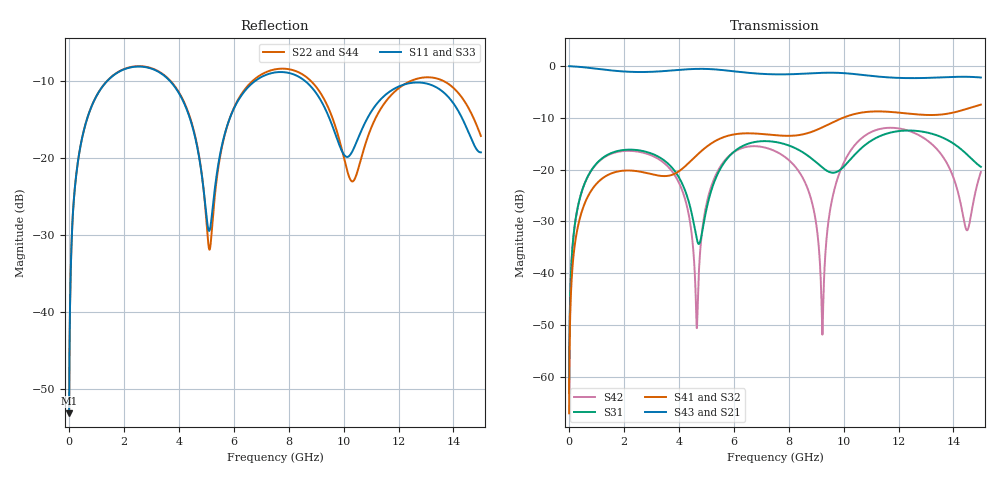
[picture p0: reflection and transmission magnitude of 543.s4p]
! Created with skrf 1.8.0 (http://scikit-rf.org).
# GHz S RI R 50.0
!freq ReS11 ImS11 ReS12 ImS12 ReS13 ImS13
! ReS14 ImS14
! ReS21 ImS21 ReS22 ImS22 ReS23 ImS23
! ReS24 ImS24
! ReS31 ImS31 ReS32 ImS32 ReS33 ImS33
! ReS34 ImS34
! ReS41 ImS41 ReS42 ImS42 ReS43 ImS43
! ReS44 ImS44
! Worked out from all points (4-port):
!   2499 points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, 5 MHz to 15 GHz, reference 50 ohm
!   strongest paths, dB at 5 MHz, 3.476 GHz, 7.19 GHz, 11.1 GHz, 15 GHz:
!     S43: 0.0, -1.0, -1.5, -1.9, -2.2
!     S21: 0.0, -1.0, -1.5, -1.9, -2.2
!     S41: -67.1, -21.3, -13.2, -8.8, -7.4
!     S32: -67.1, -21.3, -13.2, -8.8, -7.5
!     S31: -63.2, -18.3, -14.5, -14.1, -19.5
!     S42: -63.2, -18.8, -15.8, -12.5, -20.5
!   lowest |S11| = -53.1 dB at 5 MHz (marker M1), VSWR 1.00, Z = 50.2 + j0.134 ohm
!   |S11| at or under -10 dB: start of sweep to 1.388 GHz; 3.68 GHz to 6.772 GHz (3.091 GHz wide, 59.2 % of centre); 8.602 GHz to end of sweep
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0.005  0.00176 0.00134  0.9982 -0.00342  8.84e-05 0.000689  -8.58e-05 -0.000433
       0.9982 -0.00342  0.00176 0.00134  -8.58e-05 -0.000433  8.82e-05 0.000689
       8.84e-05 0.000689  -8.58e-05 -0.000433  0.00176 0.00134  0.9982 -0.00342
       -8.58e-05 -0.000433  8.82e-05 0.000689  0.9982 -0.00342  0.00176 0.00134
1.469362  0.2743 0.1779  0.5392 -0.7354  0.1308 0.0546  -0.09 -0.00469
          0.5392 -0.7354  0.2764 0.1765  -0.09 -0.0047  0.1245 0.0633
          0.1308 0.0546  -0.09 -0.0047  0.2743 0.1779  0.5392 -0.7354
          -0.09 -0.00469  0.1245 0.0633  0.5392 -0.7354  0.2764 0.1765
4.651938  0.0632 -0.1049  -0.8776 -0.3356  -0.0184 -0.0111  -0.0448 0.13
          -0.8776 -0.3356  0.0558 -0.1116  -0.0448 0.13  0.00294 0.000188
          -0.0184 -0.0111  -0.0448 0.13  0.0643 -0.1045  -0.8775 -0.3357
          -0.0448 0.13  0.00294 0.000188  -0.8775 -0.3357  0.0547 -0.1121
7.815757  0.3614 -0.00641  -0.0411 0.8301  0.1328 -0.1178  0.2066 -0.0489
          -0.0411 0.8301  0.3801 -0.0236  0.206 -0.048  0.1293 -0.0399
          0.1328 -0.1178  0.206 -0.048  0.3601 -0.00965  -0.0415 0.8308
          0.2066 -0.0489  0.1293 -0.0399  -0.0415 0.8308  0.3783 -0.0202
9.228845  0.187 -0.1289  0.605 0.6118  -0.0669 -0.0804  0.1765 -0.1855
          0.605 0.6118  0.1847 -0.1725  0.1774 -0.1844  -0.00223 -0.00123
          -0.0669 -0.0804  0.1774 -0.1844  0.1833 -0.1297  0.6054 0.6123
          0.1765 -0.1855  -0.00223 -0.00123  0.6054 0.6123  0.1851 -0.1688
10.69821  0.1412 0.0709  0.8131 -0.1134  0.0409 0.1603  -0.0773 -0.3483
          0.8131 -0.1134  0.0955 0.0511  -0.0762 -0.3485  0.1051 0.1762
          0.0409 0.1603  -0.0762 -0.3485  0.1402 0.072  0.8132 -0.1129
          -0.0773 -0.3483  0.1051 0.1762  0.8132 -0.1129  0.0961 0.052
15  0.109 0.00238  -0.6889 -0.3551  -0.106 -0.00867  -0.1879 0.3803
    -0.6889 -0.3551  0.1023 -0.0945  -0.1898 0.3788  0.0298 0.09
    -0.106 -0.00867  -0.1898 0.3788  0.1025 0.00808  -0.6898 -0.3552
    -0.1879 0.3803  0.0298 0.09  -0.6898 -0.3552  0.101 -0.0861
